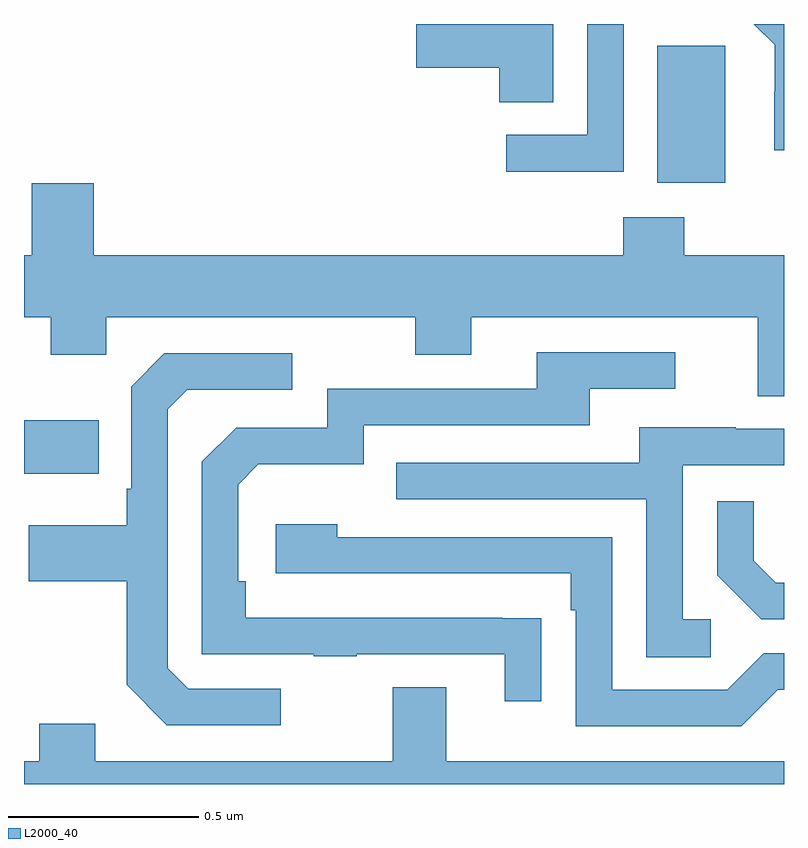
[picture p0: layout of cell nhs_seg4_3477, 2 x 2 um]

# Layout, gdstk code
import gdstk
lib = gdstk.Library(unit=1e-6, precision=1e-09)
def R(c, l, rs):  # rectangles x0, y0, x1, y1
    for r in rs: c.add(gdstk.rectangle(r[:2], r[2:], *l))
def P(c, l, *ps):  # polygons
    for p in ps: c.add(gdstk.Polygon(p, *l))
L2000_40 = (2000, 40)

nhs_seg4_3477 = lib.new_cell('nhs_seg4_3477')
R(nhs_seg4_3477, L2000_40, [(153,821.717,153.197,821.857), (154.667,822.482,154.846,822.843)])
P(nhs_seg4_3477, L2000_40, [(154.393,822.9),(154.032,822.9),(154.032,822.785),(154.25,822.785),(154.25,822.694),(154.393,822.694)],
  [(154.578,822.9),(154.482,822.9),(154.482,822.609),(154.269,822.609),(154.269,822.511),(154.578,822.511)],
  [(155,822.9),(154.92,822.9),(154.976,822.845),(154.976,822.722),(154.974,822.722),(154.974,822.568),(155,822.568)],
  [(155,822.292),(154.737,822.292),(154.737,822.391),(154.577,822.391),(154.577,822.292),(153.184,822.292),(153.184,822.481),(153.02,822.481),(153.02,822.292),(153,822.292),(153,822.128),(153.07,822.128),(153.07,822.029),(153.216,822.029),(153.216,822.128),(154.03,822.128),(154.03,822.029),(154.177,822.029),(154.177,822.128),(154.931,822.128),(154.931,821.92),(155,821.92)],
  [(154.361,821.336),(154.259,821.336),(154.259,821.337),(153.584,821.337),(153.584,821.434),(153.564,821.434),(153.564,821.688),(153.617,821.741),(153.894,821.741),(153.894,821.844),(154.489,821.844),(154.489,821.94),(154.714,821.94),(154.714,822.036),(154.349,822.036),(154.349,821.94),(153.798,821.94),(153.798,821.838),(153.558,821.838),(153.468,821.748),(153.468,821.241),(153.763,821.241),(153.763,821.236),(153.875,821.236),(153.875,821.241),(154.265,821.241),(154.265,821.118),(154.361,821.118)],
  [(153.676,821.151),(153.432,821.151),(153.378,821.205),(153.378,821.886),(153.429,821.937),(153.706,821.937),(153.706,822.033),(153.369,822.033),(153.282,821.946),(153.282,821.677),(153.27,821.677),(153.27,821.581),(153.013,821.581),(153.013,821.434),(153.27,821.434),(153.27,821.161),(153.375,821.055),(153.676,821.055)],
  [(154.807,821.334),(154.734,821.334),(154.734,821.739),(155,821.739),(155,821.835),(154.873,821.835),(154.873,821.839),(154.619,821.839),(154.619,821.745),(153.979,821.745),(153.979,821.649),(154.638,821.649),(154.638,821.233),(154.807,821.233)],
  [(155,821.43),(154.978,821.43),(154.921,821.487),(154.921,821.644),(154.824,821.644),(154.824,821.45),(154.94,821.334),(155,821.334)],
  [(154.983,821.148),(155,821.148),(155,821.244),(154.947,821.244),(154.851,821.148),(154.548,821.148),(154.548,821.55),(153.824,821.55),(153.824,821.584),(153.663,821.584),(153.663,821.454),(154.439,821.454),(154.439,821.357),(154.452,821.357),(154.452,821.052),(154.887,821.052)],
  [(155,820.96),(154.111,820.96),(154.111,821.155),(153.971,821.155),(153.971,820.96),(153.187,820.96),(153.187,821.059),(153.04,821.059),(153.04,820.96),(153,820.96),(153,820.9),(155,820.9)])

lib.write_gds('nhs_seg4_3477.gds')
